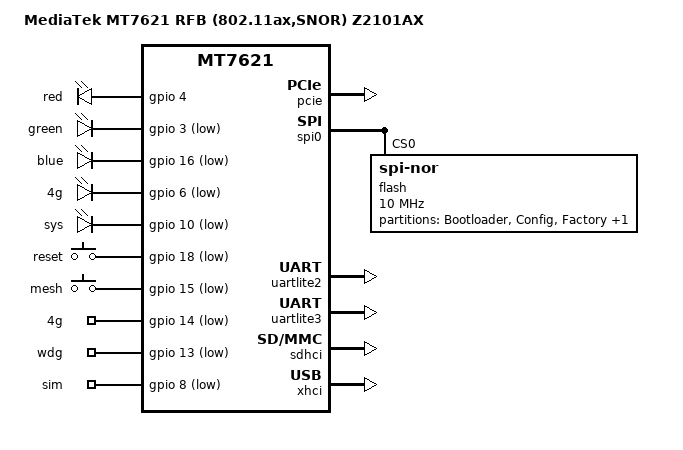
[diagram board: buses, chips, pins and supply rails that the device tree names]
#include "mt7621.dtsi"
#include <dt-bindings/input/input.h>

/ {
	compatible = "rfb-z2101ax-nor-dsim", "mediatek,mt7621-rfb-nor", "mediatek,mt7621-soc";
	model = "MediaTek MT7621 RFB (802.11ax,SNOR) Z2101AX";

	chosen {
		bootargs = "console=ttyS0,115200";
	};

	leds {
		compatible = "gpio-leds";

		red {
			label = "red";
			gpios = <&gpio 4 GPIO_ACTIVE_HIGH>;
		};
		green {
			label = "green";
			gpios = <&gpio 3 GPIO_ACTIVE_LOW>;
		};
		blue {
			label = "blue";
			gpios = <&gpio 16 GPIO_ACTIVE_LOW>;
		};
		4g{
			label = "4g";
			gpios = <&gpio 6 GPIO_ACTIVE_LOW>;
		};
		sys{
			label = "sys";
			gpios = <&gpio 10 GPIO_ACTIVE_LOW>;
		};
	};

	keys {
		compatible = "gpio-keys-polled";
		#address-cells = <1>;
		#size-cells = <0>;
		poll-interval = <20>;

		reset {
			label = "reset";
			gpios = <&gpio 18 GPIO_ACTIVE_LOW>;
			linux,code = <KEY_RESTART>;
		};

		mesh {
			label = "mesh";
			gpios = <&gpio 15 GPIO_ACTIVE_LOW>;
			linux,code = <BTN_0>;
		};
	};
	
	gpio_export {
		compatible = "gpio-export";
		4g {
			gpio-export,name = "4g";
			gpio-export,output = <1>;
			gpios = <&gpio 14 GPIO_ACTIVE_LOW>;
		};
		wdg {
			gpio-export,name = "wdg";
			gpio-export,output = <1>;
			gpios = <&gpio 13 GPIO_ACTIVE_LOW>;
		};
		sim {
			gpio-export,name = "sim";
			gpio-export,output = <1>;
			gpios = <&gpio 8 GPIO_ACTIVE_LOW>;
		};
	};
};

&pcie {
	status = "okay";
};

&pcie0 {
	wifi@0,0 {
		reg = <0x0000 0 0 0 0>;
        nvmem-cells = <&macaddr_factory_8004>;
        nvmem-cell-names = "mac-address";
	};
};

&pcie1 {
	wifi@0,0 {
		reg = <0x0000 0 0 0 0>;
		mediatek,mtd-eeprom = <&factory 0x0000>;
	};
};

&gmac0 {
	nvmem-cells = <&macaddr_factory_3fff4>;
	nvmem-cell-names = "mac-address";
};

&switch0 {
	ports {
		wan_port: port@4 {
			status = "okay";
			label = "wan";
			nvmem-cells = <&macaddr_factory_3fffa>;
			nvmem-cell-names = "mac-address";
		};
		port@1 {
			status = "okay";
			label = "lan1";
		};
		port@2 {
			status = "okay";
			label = "lan2";
		};
		port@3 {
			status = "okay";
			label = "lan3";
		};
	};
};

&state_default {
	gpio {
		groups = "i2c", "jtag", "uart2", "uart3", "wdt";
		function = "gpio";
	};
};

&spi0 {
	status = "okay";

	flash@0 {
		#address-cells = <1>;
		#size-cells = <1>;
		compatible = "jedec,spi-nor";
		reg = <0>;
		spi-max-frequency = <10000000>;
		
        partitions {
            compatible = "fixed-partitions";
            #address-cells = <1>;
            #size-cells = <1>;
			partition@0 {
				label = "Bootloader";
				reg = <0x00000 0x30000>;
			};

			partition@30000 {
				label = "Config";
				reg = <0x30000 0x10000>;
			};

			factory:partition@50000 {
				label = "Factory";
				reg = <0x50000 0x40000>;
			};

			partition@90000 {
				compatible = "denx,fit";
				label = "firmware";
				reg = <0x90000 0xf70000>;
			};
		};
	};
};

&uartlite2 {
	status = "okay";
};

&uartlite3 {
	status = "okay";
};

&sdhci {
	status = "okay";
};

/* &u3phy1 {
	status = "okay";
}; */

&xhci {
	status = "okay";
};

&factory {
	compatible = "nvmem-cells";
	#address-cells = <1>;
	#size-cells = <1>;

	macaddr_factory_3fff4: macaddr@3fff4 {
		reg = <0x3fff4 0x6>;
	};

	macaddr_factory_8004: macaddr@8004 {
		reg = <0x8004 0x6>;
	};

	macaddr_factory_3fffa: macaddr@3fffa {
		reg = <0x3fffa 0x6>;
	};
};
